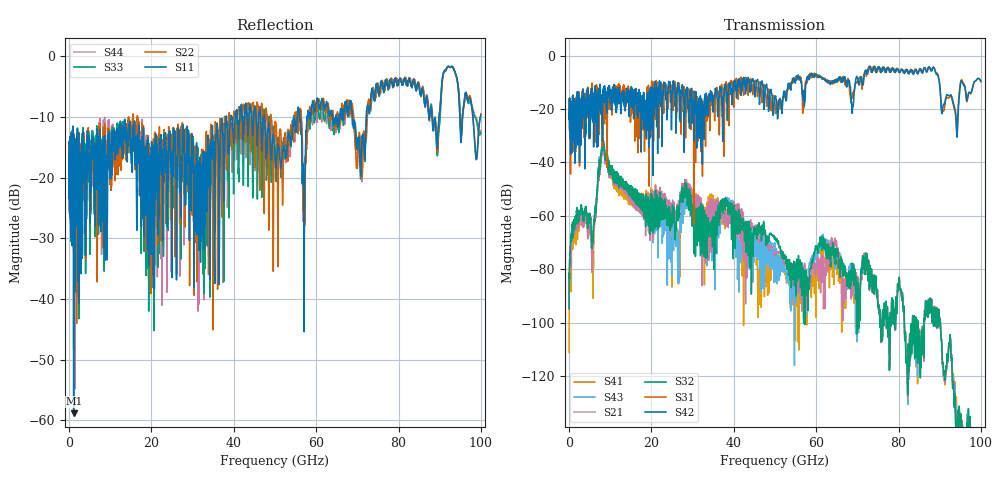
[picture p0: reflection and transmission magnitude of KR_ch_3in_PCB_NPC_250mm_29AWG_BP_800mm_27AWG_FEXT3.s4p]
! Created Thu Mar  2 12:32:15 2023
# ghz S ma R 45
! 4 Port Network Data from SP1.SP block
! freq  magS11  angS11  magS12  angS12  magS13  angS13  magS14  angS14
!  magS21  angS21  magS22  angS22  magS23  angS23  magS24  angS24
!  magS31  angS31  magS32  angS32  magS33  angS33  magS34  angS34
!  magS41  angS41  magS42  angS42  magS43  angS43  magS44  angS44
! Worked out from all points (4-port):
!   4000 points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, 25 MHz to 100 GHz, reference 45 ohm
!   strongest paths, dB at 25 MHz, 25.02 GHz, 50.02 GHz, 75.03 GHz, 100 GHz:
!     S42: -21.1, -13.9, -16.0, -4.8, -9.6
!     S31: -21.1, -18.1, -18.0, -4.1, -9.7
!     S32: -94.7, -59.3, -68.2, -93.8, -144.0
!     S21: -92.4, -56.9, -74.8, -94.1, -149.3
!     S43: -91.3, -68.9, -70.6, -93.6, -149.8
!     S41: -111.1, -73.4, -76.6, -93.8, -151.4
!   lowest |S11| = -58.8 dB at 1.125 GHz (marker M1), VSWR 1.00, Z = 45 + j0.101 ohm
!   |S11| at or under -10 dB: start of sweep to 38.16 GHz; 47.47 GHz to 55.53 GHz (8.061 GHz wide, 15.7 % of centre); 68.77 GHz to 72.17 GHz (3.401 GHz wide, 4.83 % of centre) (the widest 3 of 25)
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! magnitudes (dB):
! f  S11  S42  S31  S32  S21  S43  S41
! 25 MHz  -16.4  -21.1  -21.1  -94.7  -92.4  -91.3  -111.1
! 1.125 GHz  -58.8  -27.1  -25.8  -61.9  -63.6  -62.7  -66.2
! 5.725 GHz  -13.2  -20.8  -14.9  -69.3  -76.4  -70.2  -71.7
! 8.2 GHz  -18.6  -17.4  -29.6  -32.0  -33.5  -31.0  -32.2
! 26.35 GHz  -18.0  -10.2  -17.0  -59.8  -57.0  -73.1  -66.8
! 28.98 GHz  -13.3  -18.3  -12.2  -52.5  -49.7  -54.4  -50.7
! 100 GHz  -9.7  -9.6  -9.7  -144.0  -149.3  -149.8  -151.4
